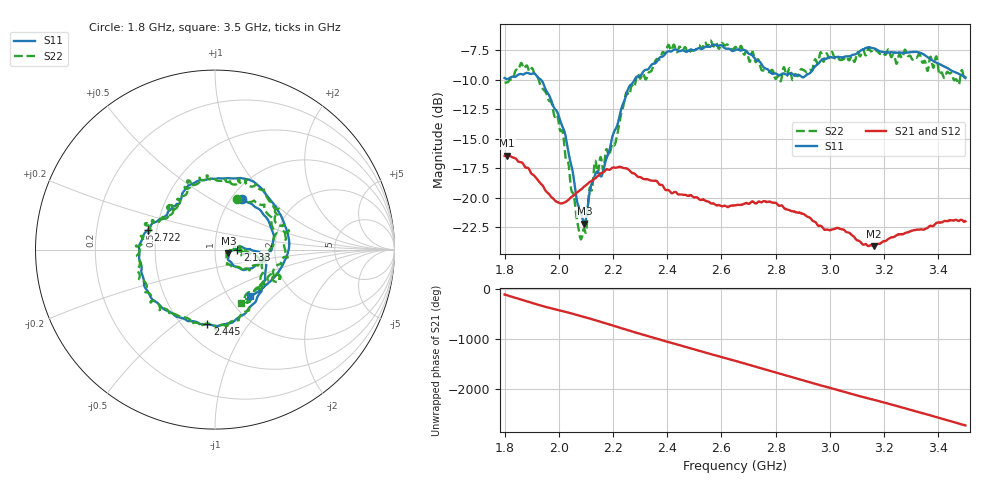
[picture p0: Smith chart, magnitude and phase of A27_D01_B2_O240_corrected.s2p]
! Created with skrf 1.9.0 (http://scikit-rf.org).
# Hz S RI R 50.0
!freq ReS11 ImS11 ReS21 ImS21 ReS12 ImS12 ReS22 ImS22
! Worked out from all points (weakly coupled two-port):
!   1601 points, 1.8 GHz to 3.5 GHz, reference 50 ohm
!   highest |S21| = -16.43 dB at 1.81 GHz (marker M1); lowest = -24.1 dB at 3.162 GHz (marker M2)
!   lowest |S11| = -22.2 dB at 2.094 GHz (marker M3), VSWR 1.17, Z = 58.1 - j2.31 ohm
!   |S11| at or under -10 dB: 1.935 GHz to 2.279 GHz (344.5 MHz wide, 16.4 % of centre)
!   |S22| runs from -23.6 to -6.7 dB; largest |S21 - S12| = 0.0029
!   S11 on the Smith chart (normalised r, x): 1.8 GHz: 1.12, +0.71; 2.133 GHz: 1.28, -0.00; 2.445 GHz: 0.65, -0.66; 2.722 GHz: 0.45, +0.11; 3.5 GHz: 1.25, -0.72
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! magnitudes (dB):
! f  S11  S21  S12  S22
! 1.8 GHz  -9.8  -16.5  -16.5  -10.3
! 1.81 GHz  -9.9  -16.4  -16.4  -10.2
! 1.881 GHz  -9.4  -17.5  -17.5  -8.8
! 1.969 GHz  -11.6  -19.9  -19.9  -11.8
! 2.021 GHz  -14.4  -20.4  -20.4  -15.7
! 2.084 GHz  -21.5  -19.3  -19.2  -23.5
! 2.094 GHz  -22.2  -19.1  -19.1  -22.7
! 2.133 GHz  -18.1  -18.4  -18.4  -17.0
! 2.16 GHz  -18.0  -17.9  -17.8  -17.3
! 2.208 GHz  -14.2  -17.5  -17.4  -15.4
! 2.26 GHz  -10.6  -17.7  -17.7  -11.3
! 2.367 GHz  -8.3  -18.8  -18.7  -8.3
! 2.445 GHz  -7.6  -19.7  -19.7  -7.2
! 2.65 GHz  -7.5  -20.7  -20.6  -7.2
! 2.722 GHz  -8.2  -20.4  -20.4  -8.2
! 2.813 GHz  -9.6  -20.7  -20.6  -9.8
! 2.934 GHz  -9.2  -21.9  -21.9  -9.2
! 2.966 GHz  -8.4  -22.4  -22.4  -7.7
! 3.162 GHz  -7.3  -24.1  -24.1  -7.3
! 3.217 GHz  -7.7  -23.5  -23.5  -7.5
! 3.331 GHz  -7.7  -22.7  -22.7  -7.8
! 3.5 GHz  -9.8  -22.0  -22.0  -9.7
